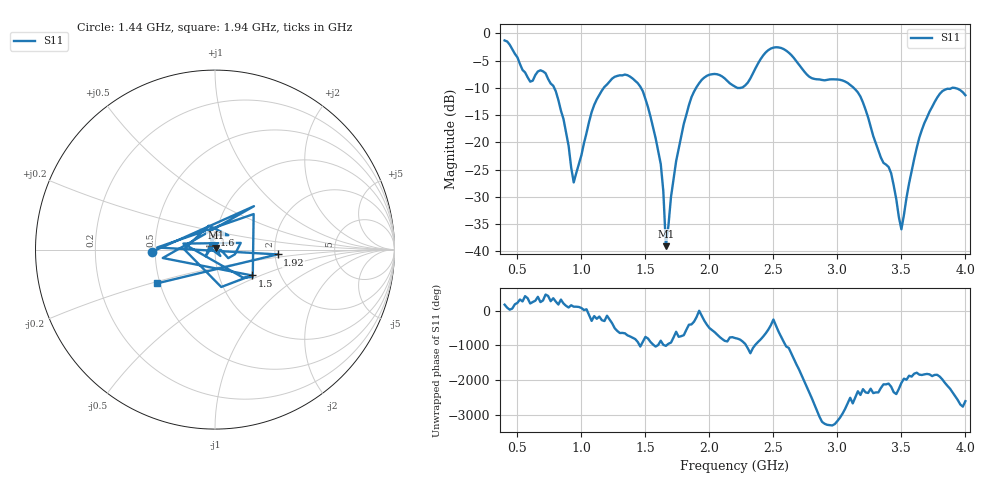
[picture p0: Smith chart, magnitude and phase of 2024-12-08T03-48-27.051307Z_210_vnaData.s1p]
!Created with skrf (http://scikit-rf.org).
# Hz S RI R 50.0
!freq ReS11 ImS11
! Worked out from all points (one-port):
!   181 points, 400 MHz to 4 GHz, reference 50 ohm
!   lowest |S11| = -39.0 dB at 1.66 GHz (marker M1), VSWR 1.02, Z = 50.4 + j1.04 ohm
!   |S11| at or under -10 dB: 787.7 MHz to 1.175 GHz (386.9 MHz wide, 39.4 % of centre); 1.466 GHz to 1.896 GHz (430.5 MHz wide, 25.6 % of centre); 3.128 GHz to 3.896 GHz (768.6 MHz wide, 21.9 % of centre) (the widest 3 of 5)
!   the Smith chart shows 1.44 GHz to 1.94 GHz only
!   S11 on the Smith chart (normalised r, x): 1.44 GHz: 0.48, -0.01; 1.5 GHz: 1.44, -0.44; 1.6 GHz: 0.98, +0.16; 1.92 GHz: 2.06, -0.13; 1.94 GHz: 0.48, -0.21
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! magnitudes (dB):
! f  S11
! 400 MHz  -1.3
! 600 MHz  -8.9
! 720 MHz  -7.3
! 860 MHz  -15.7
! 940 MHz  -27.3
! 1.1 GHz  -13.1
! 1.3 GHz  -7.7
! 1.44 GHz  -9.1
! 1.5 GHz  -12.0
! 1.6 GHz  -21.6
! 1.64 GHz  -29.0
! 1.66 GHz  -39.0
! 1.76 GHz  -21.1
! 1.84 GHz  -13.2
! 1.92 GHz  -9.1
! 1.94 GHz  -8.5
! 2.2 GHz  -9.8
! 2.48 GHz  -2.8
! 2.66 GHz  -4.5
! 2.8 GHz  -8.2
! 3.1 GHz  -9.4
! 3.18 GHz  -11.6
! 3.42 GHz  -25.7
! 3.5 GHz  -35.9
! 3.56 GHz  -27.5
! 3.64 GHz  -19.1
! 3.78 GHz  -11.8
! 4 GHz  -11.3
